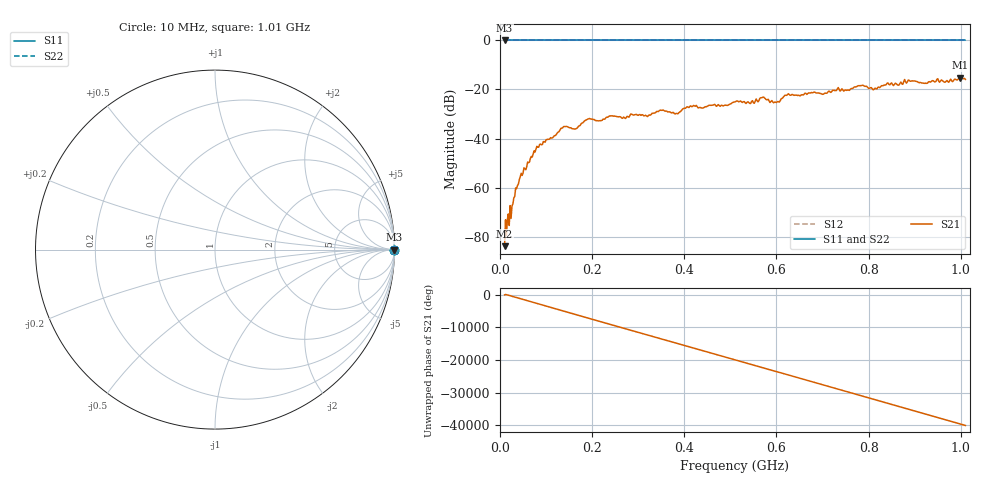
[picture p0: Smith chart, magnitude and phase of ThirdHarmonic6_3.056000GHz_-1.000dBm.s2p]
! 8/17/2025 8:53:35 AM
! C:\ANRITSUVNA\TEMP\TEMP.S2P
! CHANNEL.1
! TR.MEASUREMENT
! RAW.DATA
! RF.CORRECTION.OFF
! AVERAGING.OFF
! IF.BANDWIDTH: 5KHZ
! SWEEPTYPE:  FREQ.SWEEP(Linear)
! Reference Plane Port Info
! PORT:  PORT1  PORT2
! DISTANCE:  0  m  0  m
! TIME:  0  s  0  s
! PHASE.OFFSET:  0  deg.  0  deg.
! LOSS:  0  dB  0  dB
! REF.LOSS:  0  dB  0  dB
! REF.FREQ:  0  Hz  0  Hz
! Power Info
! POWER:  -20  dBm  -20  dBm
! EFF.POWER:  -20  dBm  -20  dBm
! SOURCE.ATTEN:  0  dB  0  dB
! TEST.ATTEN:  0  dB  0  dB
# GHZ S RI R 50.0
! FREQ.GHZ  S11RE  S11IM  S21RE  S21IM  S12RE  S12IM  S22RE  S22IM
!; PortSelection: Port_12
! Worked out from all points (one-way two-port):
!   501 points, 10 MHz to 1.01 GHz, reference 50 ohm
!   highest |S21| = -15.11 dB at 998 MHz (marker M1); lowest = -83.9 dB at 10 MHz (marker M2)
!   lowest |S11| = 0.0 dB at 10 MHz (marker M3)
!   |S11| at or under -10 dB: nowhere
!   |S22| runs from 0.0 to 0.0 dB; largest |S21 - S12| = 1.2
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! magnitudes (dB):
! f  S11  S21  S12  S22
! 10 MHz  0.0  -83.9  0.0  0.0
! 42 MHz  0.0  -56.7  0.0  0.0
! 78 MHz  0.0  -44.3  0.0  0.0
! 136 MHz  0.0  -35.6  0.0  0.0
! 162 MHz  0.0  -36.1  0.0  0.0
! 178 MHz  0.0  -33.7  0.0  0.0
! 192 MHz  0.0  -32.0  0.0  0.0
! 322 MHz  0.0  -30.6  0.0  0.0
! 344 MHz  0.0  -29.0  0.0  0.0
! 382 MHz  0.0  -29.8  0.0  0.0
! 410 MHz  0.0  -27.3  0.0  0.0
! 510 MHz  0.0  -25.1  0.0  0.0
! 548 MHz  0.0  -24.6  0.0  0.0
! 570 MHz  0.0  -23.2  0.0  0.0
! 598 MHz  0.0  -25.2  0.0  0.0
! 622 MHz  0.0  -22.4  0.0  0.0
! 678 MHz  0.0  -21.4  0.0  0.0
! 784 MHz  0.0  -18.4  0.0  0.0
! 814 MHz  0.0  -19.4  0.0  0.0
! 844 MHz  0.0  -17.9  0.0  0.0
! 998 MHz  0.0  -15.1  0.0  0.0
! 1.01 GHz  0.0  -15.9  0.0  0.0
